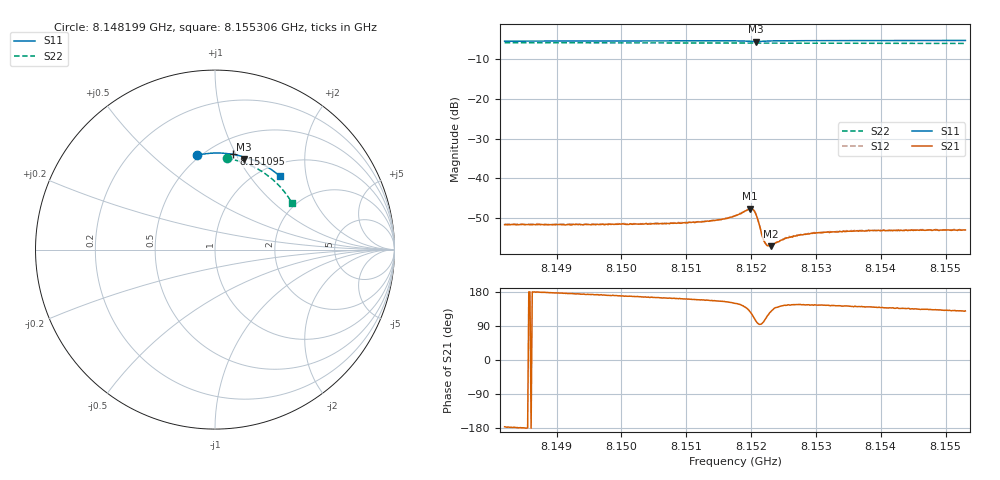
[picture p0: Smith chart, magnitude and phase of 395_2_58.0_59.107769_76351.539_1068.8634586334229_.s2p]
#  HZ  S  RI  R  50.00
! Rohde & Schwarz Vector Network Analyzer
! Rohde-Schwarz,ZNB20-2Port,1311601062101988,3.16
! Created: UTC 3/21/2024, 1:08:00 AM
! freq[Hz]  re:S11  im:S11  re:S21  im:S21  re:S12  im:S12  re:S22  im:S22
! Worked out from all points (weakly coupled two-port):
!   401 points, 8.148199 GHz to 8.155306 GHz, reference 50 ohm
!   highest |S21| = -47.63 dB at 8.151984 GHz (marker M1); lowest = -57.1 dB at 8.152304 GHz (marker M2)
!   lowest |S11| = -5.5 dB at 8.152073 GHz (marker M3), VSWR 3.24, Z = 37.8 + j52.7 ohm
!   |S11| at or under -10 dB: nowhere
!   |S22| runs from -6.0 to -5.8 dB; largest |S21 - S12| = 0.00012
!   S11 on the Smith chart (normalised r, x): 8.148199 GHz: 0.48, +0.71; 8.151095 GHz: 0.65, +0.98; 8.155306 GHz: 1.21, +1.42
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8.1481994e9  -0.0984 0.5264  -0.00261 -0.000173  -0.00269 -8.93e-05  0.0666 0.5077
8.1493898e9  -0.0162 0.5374  -0.00261 0.000286  -0.00265 0.000373  0.142 0.4903
8.1505802e9  0.0666 0.5355  -0.00259 0.000718  -0.00258 0.000779  0.2129 0.462
8.1510954e9  0.1025 0.5306  -0.00265 0.000966  -0.00262 0.000992  0.2423 0.4466
8.1514685e9  0.1287 0.5252  -0.00273 0.00123  -0.00271 0.00126  0.2626 0.4345
8.1516107e9  0.1389 0.5227  -0.00279 0.00139  -0.00284 0.00146  0.2702 0.4293
8.1517528e9  0.1494 0.5191  -0.0029 0.00172  -0.00289 0.00178  0.2778 0.4242
8.1519838e9  0.1646 0.5074  -0.00254 0.00329  -0.00252 0.00336  0.2895 0.4154
8.1520371e9  0.1642 0.5036  -0.00163 0.00368  -0.00158 0.00371  0.2922 0.4133
8.1520726e9  0.1629 0.5031  -0.000855 0.00349  -0.000825 0.00352  0.2938 0.4121
8.1521081e9  0.1622 0.5046  -0.000317 0.00294  -0.000279 0.003  0.2955 0.4108
8.1521792e9  0.1653 0.5085  -0.000255 0.00179  -0.000221 0.00183  0.2992 0.4083
8.1522147e9  0.1683 0.5095  -0.000445 0.00149  -0.000435 0.00149  0.3009 0.407
8.1522503e9  0.1713 0.5098  -0.000628 0.00128  -0.000597 0.00129  0.3027 0.4056
8.1523036e9  0.1759 0.51  -0.000849 0.00112  -0.000864 0.00115  0.3056 0.4034
8.1525523e9  0.1948 0.5055  -0.00146 0.00104  -0.00143 0.00104  0.3177 0.3936
8.1526945e9  0.2048 0.5023  -0.00157 0.00106  -0.00157 0.00112  0.3246 0.3875
8.1529432e9  0.2213 0.4958  -0.00167 0.00115  -0.00168 0.00119  0.3361 0.3771
8.1534407e9  0.253 0.4815  -0.00171 0.0013  -0.0017 0.00135  0.3583 0.3548
8.1541336e9  0.295 0.4581  -0.00165 0.0015  -0.00161 0.0015  0.3868 0.3219
8.1546133e9  0.3228 0.44  -0.00154 0.00163  -0.00157 0.00164  0.4046 0.2977
8.1553062e9  0.3604 0.4108  -0.00143 0.00173  -0.0014 0.00176  0.4278 0.2611
